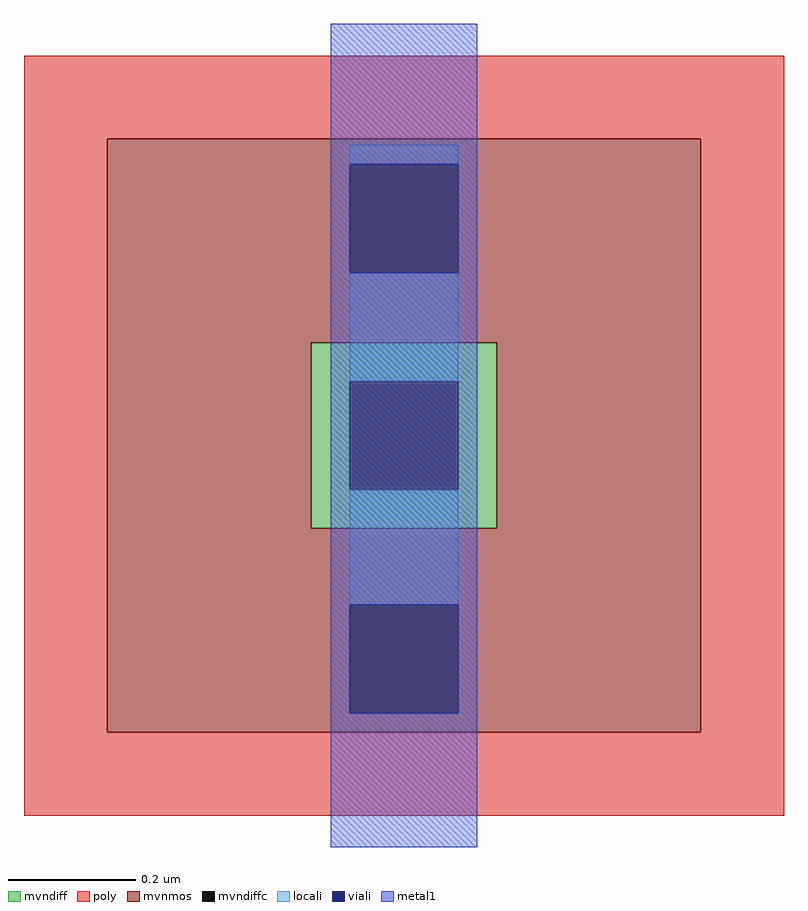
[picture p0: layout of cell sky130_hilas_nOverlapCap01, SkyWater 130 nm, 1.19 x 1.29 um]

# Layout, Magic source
magic
tech sky130A
<< mvnmos >>
rect 18 79 111 111
rect 18 50 50 79
rect 79 50 111 79
rect 18 18 111 50
<< mvndiff >>
rect 50 73 79 79
rect 50 56 56 73
rect 73 56 79 73
rect 50 50 79 56
<< mvndiffc >>
rect 56 56 73 73
<< poly >>
rect 5 111 124 124
rect 5 18 18 111
rect 111 18 124 111
rect 5 5 124 18
<< locali >>
rect 56 107 73 110
rect 56 73 73 90
rect 56 38 73 56
<< viali >>
rect 56 90 73 107
rect 56 21 73 38
<< metal1 >>
rect 53 107 76 129
rect 53 90 56 107
rect 73 90 76 107
rect 53 38 76 90
rect 53 21 56 38
rect 73 21 76 38
rect 53 0 76 21
<< properties >>
string LEFsite unithd
string LEFclass CORE
string LEFsymmetry X Y R90
<< end >>
